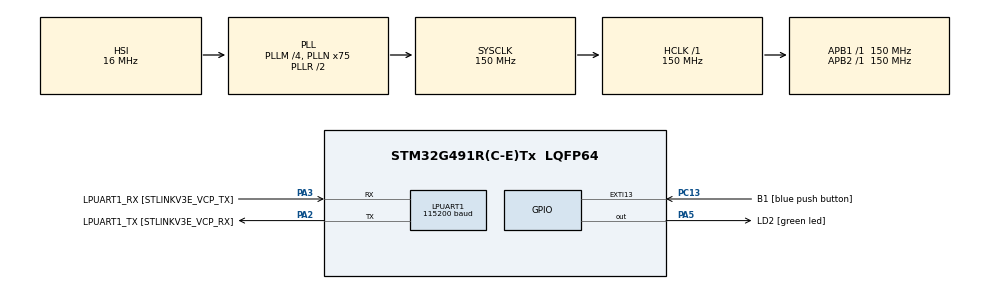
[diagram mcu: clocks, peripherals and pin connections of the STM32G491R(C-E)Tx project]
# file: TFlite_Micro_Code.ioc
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LPUART1.BaudRate=115200
LPUART1.WordLength=UART_WORDLENGTH_8B
Mcu.Family=STM32G4
Mcu.Name=STM32G491R(C-E)Tx
Mcu.Package=LQFP64
NVIC.EXTI15_10_IRQn=true\:0\:0\:false\:false\:true\:true\:true\:true
NVIC.LPUART1_IRQn=true\:0\:0\:false\:false\:true\:true\:true\:true
NVIC.PriorityGroup=NVIC_PRIORITYGROUP_4
PA13.GPIO_Label=T_SWDIO
PA13.Mode=Serial_Wire
PA13.Signal=SYS_JTMS-SWDIO
PA14.GPIO_Label=T_SWCLK
PA14.Mode=Serial_Wire
PA14.Signal=SYS_JTCK-SWCLK
PA2.GPIO_Label=LPUART1_TX [STLINKV3E_VCP_RX]
PA2.Mode=Asynchronous
PA2.Signal=LPUART1_TX
PA3.GPIO_Label=LPUART1_RX [STLINKV3E_VCP_TX]
PA3.Mode=Asynchronous
PA3.Signal=LPUART1_RX
PA5.GPIO_Label=LD2 [green led]
PA5.Signal=GPIO_Output
PB3.GPIO_Label=T_SWO
PB3.Signal=SYS_JTDO-SWO
PC13.GPIO_Label=B1 [blue push button]
PC13.Signal=GPXTI13
PC14-OSC32_IN.Mode=LSE-External-Oscillator
PC14-OSC32_IN.Signal=RCC_OSC32_IN
PC15-OSC32_OUT.Mode=LSE-External-Oscillator
PC15-OSC32_OUT.Signal=RCC_OSC32_OUT
PF0-OSC_IN.Mode=HSE-External-Oscillator
PF0-OSC_IN.Signal=RCC_OSC_IN
PF1-OSC_OUT.Mode=HSE-External-Oscillator
PF1-OSC_OUT.Signal=RCC_OSC_OUT
ProjectManager.HeapSize=0x200
ProjectManager.StackSize=0x400
ProjectManager.TargetToolchain=STM32CubeIDE
RCC.ADC12Freq_Value=150000000
RCC.ADC345Freq_Value=150000000
RCC.AHBFreq_Value=150000000
RCC.APB1Freq_Value=150000000
RCC.APB1TimFreq_Value=150000000
RCC.APB2Freq_Value=150000000
RCC.APB2TimFreq_Value=150000000
RCC.CortexFreq_Value=150000000
RCC.EXTERNAL_CLOCK_VALUE=12288000
RCC.HCLKFreq_Value=150000000
RCC.HSE_VALUE=24000000
RCC.HSI48_VALUE=48000000
RCC.HSI_VALUE=16000000
RCC.PLLM=RCC_PLLM_DIV4
RCC.PLLN=75
RCC.RTCClockSelection=RCC_RTCCLKSOURCE_LSE
RCC.SYSCLKFreq_VALUE=150000000
RCC.SYSCLKSource=RCC_SYSCLKSOURCE_PLLCLK
RCC.USBFreq_Value=48000000
RCC.VCOOutputFreq_Value=300000000
TIM16.Prescaler=80 - 1
VP_SYS_VS_DBSignals.Mode=DisableDeadBatterySignals
VP_TIM16_VS_ClockSourceINT.Mode=Enable_Timer
board=NUCLEO-G491RE

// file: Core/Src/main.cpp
 /* USER CODE BEGIN Header */
/**
  ******************************************************************************
  * @file           : main.c
  * @brief          : Main program body
  ******************************************************************************
  * @attention
  *
  * Copyright (c) 2024 STMicroelectronics.
  * All rights reserved.
  *
  * This software is licensed under terms that can be found in the LICENSE file
  * in the root directory of this software component.
  * If no LICENSE file comes with this software, it is provided AS-IS.
  *
  ******************************************************************************
  */
/* USER CODE END Header */
#include "main.h"

/* USER CODE BEGIN Includes */
#include <string.h>
#include <math.h>
#include "tensorflow/lite/micro/debug_log.h"

#include "tensorflow/lite/micro/kernels/micro_ops.h"
#include "tensorflow/lite/micro/tflite_bridge/micro_error_reporter.h"
#include "tensorflow/lite/micro/micro_interpreter.h"
#include "tensorflow/lite/micro/micro_mutable_op_resolver.h"
#include "tensorflow/lite/micro/micro_interpreter.h"
#include "tensorflow/lite/micro/micro_log.h"
#include "tensorflow/lite/micro/system_setup.h"
#include "tensorflow/lite/schema/schema_generated.h"

#include "cnn_model.h"
#include "inference_array.h"

// User defines are in tensorflow/lite/core/c/c_api_types.h

/* USER CODE END Includes */

/* USER CODE BEGIN PD */

void softmax(float input[], int size);
const char* GetClassName(uint8_t class_code);

/* USER CODE END PD */

UART_HandleTypeDef hlpuart1;

TIM_HandleTypeDef htim16;

/* USER CODE BEGIN PV */

// TF-Lite Globals
namespace
{
	tflite::ErrorReporter* error_reporter = nullptr;
	const tflite::Model* model = nullptr;
	tflite::MicroInterpreter* interpreter = nullptr;
	TfLiteTensor* model_input = nullptr;
	TfLiteTensor* model_output = nullptr;

// 38 * 1024 is the minimum kTensorArenaSize for which
// no error is generated
	constexpr int kTensorArenaSize = 38 * 1024;
	__attribute__((aligned(16)))uint8_t tensor_arena[kTensorArenaSize];
}

// Array to store the received data from UART (VCP)
uint8_t uart_rx_data[10];

/* USER CODE END PV */

void SystemClock_Config(void);
static void MX_GPIO_Init(void);
static void MX_LPUART1_UART_Init(void);
static void MX_TIM16_Init(void);

int main(void)
{
  /* USER CODE BEGIN 1 */
  char buf[150];
  TfLiteStatus tflite_status;
  uint32_t num_elements;
  /* USER CODE END 1 */

  /* MCU Configuration--------------------------------------------------------*/

  /* Reset of all peripherals, Initializes the Flash interface and the Systick. */
  HAL_Init();

  /* Configure the system clock */
  SystemClock_Config();

  /* Initialize all configured peripherals */
  MX_GPIO_Init();
  MX_LPUART1_UART_Init();
  MX_TIM16_Init();
  /* USER CODE BEGIN 2 */

  // Start timer / counter
  HAL_TIM_Base_Start(&htim16);

  // Set up logging (modify tensorflow/lite/micro/debug_log.cc)
  static tflite::MicroErrorReporter micro_error_reporter;
  error_reporter = &micro_error_reporter;

  // Say something to test error reporter
  error_reporter->Report("\r\n------------------------------------");
  error_reporter->Report("STM32 TF lite test");

  // Map the model into a usable data structure. This doesn't involve any
  // copying or parsing, it's a very lightweight operation.
  model = tflite::GetModel(cnn_model_int8);
  if (model->version() != TFLITE_SCHEMA_VERSION) {
	  error_reporter->Report("Model provided in schema version not equal to supported version");
	  while(1);
  }

  // Pull in only the operation implementations we need.
  // This relies on a complete list of all the ops needed by this graph.
  // NOLINTNEXTLINE(runtime-global-variables)
  static tflite::MicroMutableOpResolver<6> micro_op_resolver;
  micro_op_resolver.AddConv2D(tflite::Register_CONV_2D_INT8());
  micro_op_resolver.AddReshape();
  micro_op_resolver.AddQuantize();
  micro_op_resolver.AddMaxPool2D(tflite::Register_MAX_POOL_2D_INT8());
  micro_op_resolver.AddFullyConnected(tflite::Register_FULLY_CONNECTED_INT8());
  micro_op_resolver.AddDequantize();

  // Build an interpreter to run the model with.
  // NOLINTNEXTLINE(runtime-global-variables)
  static tflite::MicroInterpreter static_interpreter(model, micro_op_resolver, tensor_arena, kTensorArenaSize);
  interpreter = &static_interpreter;

  // Allocate memory from the tensor_arena for the model's tensors.
  TfLiteStatus allocate_status = interpreter->AllocateTensors();
  if (allocate_status != kTfLiteOk) {
	  error_reporter->Report("AllocateTensors() failed");
	  while(1);
  }

  // Get information about the memory area to use for the model's input.
  model_input = interpreter->input(0);
  model_output = interpreter->output(0);
  error_reporter->Report("Fully Optimized Setup OK!");

  // Print input / output tensor elements
  num_elements = model_input->bytes / sizeof(float);
  sprintf(buf, "Model input / output elements: %lu / %d", num_elements, model_output->bytes / sizeof(float));
  error_reporter->Report(buf);

  // Print input tensor type
  TfLiteType input_tensor_type = interpreter->input_tensor(0)->type;
  sprintf(buf, "Input Tensor Type: %s", TfLiteTypeGetName(input_tensor_type));
  error_reporter->Report(buf);

  // Print output tensor type
  TfLiteType output_tensor_type = interpreter->output_tensor(0)->type;
  sprintf(buf, "Output Tensor Type: %s\r\n", TfLiteTypeGetName(output_tensor_type));
  error_reporter->Report(buf);

  // Start the interrupt handling of UART (VCP) reception
  HAL_UART_Receive_IT(&hlpuart1, uart_rx_data, sizeof(uart_rx_data));

  /* USER CODE END 2 */

  /* Infinite loop */
  /* USER CODE BEGIN WHILE */

  while (1)
  {
	  // Accuracy variables
	  uint8_t total_samples = 0;
	  uint8_t correct_predictions = 0;

	  // Run inference for every test image
	  for (uint8_t img = 0; img < sizeof(inference_array) / sizeof(inference_array[0]); ++img)
	  {
		  // Fill in input buffer with 1 inference image
		  for (uint16_t i = 0; i < num_elements; ++i)
		  {
			  model_input->data.f[i] = inference_array[img][i];
		  }

		  // Get current timestamp
		  //timestamp = htim16.Instance->CNT;
		  uint32_t tick0 = HAL_GetTick();

		  // Run inference
		  tflite_status = interpreter->Invoke();
		  if (tflite_status != kTfLiteOk)
			  error_reporter->Report("Invoke failed :(");

		  // Print needed time to run the inference
		  sprintf(buf, "Process image time: %lu (ms)", HAL_GetTick() - tick0);
		  error_reporter->Report(buf);

		  // Read output prediction of neural network
		  // The output is stored in data.f[0-9]
		  float soft_table[10];
		  for (uint8_t i = 0; i < 10; ++i)
			  soft_table[i] = model_output->data.f[i];

		  // Run softmax function to find probability distribution
		  softmax(soft_table, 10);

		  // Find most probable class and print the results
		  float max_probability = soft_table[0];
		  uint8_t index_max_probability = 0;
		  for (uint8_t i = 1; i < 10; ++i)
		  {
			  if (soft_table[i] > max_probability)
			  {
				  max_probability = soft_table[i];
				  index_max_probability = i;
			  }
		  }
		  sprintf(buf, "Max probability: %0.2f  |  Prediction: %s  |  Ground truth label: %s \r\n",
				       max_probability, GetClassName(index_max_probability), GetClassName(inference_labels[img]));
		  error_reporter->Report(buf);

		  // Update accuracy variables
		  total_samples++;
		  if (index_max_probability == inference_labels[img])
			  correct_predictions++;

	  }
	  // Report accuracy
	  sprintf(buf, "Accuracy: %0.2f", 1.0 * correct_predictions / total_samples);
	  error_reporter->Report(buf);

	  error_reporter->Report("\r\n--------- Iteration done ---------\r\n");

    /* USER CODE END WHILE */

  }
}

void SystemClock_Config(void)
{
  RCC_OscInitTypeDef RCC_OscInitStruct = {0};
  RCC_ClkInitTypeDef RCC_ClkInitStruct = {0};

  /** Configure the main internal regulator output voltage
  */
  HAL_PWREx_ControlVoltageScaling(PWR_REGULATOR_VOLTAGE_SCALE1);

  /** Initializes the RCC Oscillators according to the specified parameters
  * in the RCC_OscInitTypeDef structure.
  */
  RCC_OscInitStruct.OscillatorType = RCC_OSCILLATORTYPE_HSI;
  RCC_OscInitStruct.HSIState = RCC_HSI_ON;
  RCC_OscInitStruct.HSICalibrationValue = RCC_HSICALIBRATION_DEFAULT;
  RCC_OscInitStruct.PLL.PLLState = RCC_PLL_ON;
  RCC_OscInitStruct.PLL.PLLSource = RCC_PLLSOURCE_HSI;
  RCC_OscInitStruct.PLL.PLLM = RCC_PLLM_DIV4;
  RCC_OscInitStruct.PLL.PLLN = 75;
  RCC_OscInitStruct.PLL.PLLP = RCC_PLLP_DIV2;
  RCC_OscInitStruct.PLL.PLLQ = RCC_PLLQ_DIV2;
  RCC_OscInitStruct.PLL.PLLR = RCC_PLLR_DIV2;
  if (HAL_RCC_OscConfig(&RCC_OscInitStruct) != HAL_OK)
  {
    Error_Handler();
  }

  /** Initializes the CPU, AHB and APB buses clocks
  */
  RCC_ClkInitStruct.ClockType = RCC_CLOCKTYPE_HCLK|RCC_CLOCKTYPE_SYSCLK
                              |RCC_CLOCKTYPE_PCLK1|RCC_CLOCKTYPE_PCLK2;
  RCC_ClkInitStruct.SYSCLKSource = RCC_SYSCLKSOURCE_PLLCLK;
  RCC_ClkInitStruct.AHBCLKDivider = RCC_SYSCLK_DIV1;
  RCC_ClkInitStruct.APB1CLKDivider = RCC_HCLK_DIV1;
  RCC_ClkInitStruct.APB2CLKDivider = RCC_HCLK_DIV1;

  if (HAL_RCC_ClockConfig(&RCC_ClkInitStruct, FLASH_LATENCY_4) != HAL_OK)
  {
    Error_Handler();
  }
}

static void MX_LPUART1_UART_Init(void)
{

  hlpuart1.Instance = LPUART1;
  hlpuart1.Init.BaudRate = 115200;
  hlpuart1.Init.WordLength = UART_WORDLENGTH_8B;
  hlpuart1.Init.StopBits = UART_STOPBITS_1;
  hlpuart1.Init.Parity = UART_PARITY_NONE;
  hlpuart1.Init.Mode = UART_MODE_TX_RX;
  hlpuart1.Init.HwFlowCtl = UART_HWCONTROL_NONE;
  hlpuart1.Init.OneBitSampling = UART_ONE_BIT_SAMPLE_DISABLE;
  hlpuart1.Init.ClockPrescaler = UART_PRESCALER_DIV1;
  hlpuart1.AdvancedInit.AdvFeatureInit = UART_ADVFEATURE_NO_INIT;
  if (HAL_UART_Init(&hlpuart1) != HAL_OK)
  {
    Error_Handler();
  }
  if (HAL_UARTEx_SetTxFifoThreshold(&hlpuart1, UART_TXFIFO_THRESHOLD_1_8) != HAL_OK)
  {
    Error_Handler();
  }
  if (HAL_UARTEx_SetRxFifoThreshold(&hlpuart1, UART_RXFIFO_THRESHOLD_1_8) != HAL_OK)
  {
    Error_Handler();
  }
  if (HAL_UARTEx_DisableFifoMode(&hlpuart1) != HAL_OK)
  {
    Error_Handler();
  }

}

static void MX_TIM16_Init(void)
{

  htim16.Instance = TIM16;
  htim16.Init.Prescaler = 80 - 1;
  htim16.Init.CounterMode = TIM_COUNTERMODE_UP;
  htim16.Init.Period = 65535;
  htim16.Init.ClockDivision = TIM_CLOCKDIVISION_DIV1;
  htim16.Init.RepetitionCounter = 0;
  htim16.Init.AutoReloadPreload = TIM_AUTORELOAD_PRELOAD_DISABLE;
  if (HAL_TIM_Base_Init(&htim16) != HAL_OK)
  {
    Error_Handler();
  }

}

static void MX_GPIO_Init(void)
{
  GPIO_InitTypeDef GPIO_InitStruct = {0};

  /* GPIO Ports Clock Enable */
  __HAL_RCC_GPIOC_CLK_ENABLE();
  __HAL_RCC_GPIOF_CLK_ENABLE();
  __HAL_RCC_GPIOA_CLK_ENABLE();
  __HAL_RCC_GPIOB_CLK_ENABLE();

  /*Configure GPIO pin Output Level */
  HAL_GPIO_WritePin(LD2_GPIO_Port, LD2_Pin, GPIO_PIN_RESET);

  /*Configure GPIO pin : B1_Pin */
  GPIO_InitStruct.Pin = B1_Pin;
  GPIO_InitStruct.Mode = GPIO_MODE_IT_RISING;
  GPIO_InitStruct.Pull = GPIO_NOPULL;
  HAL_GPIO_Init(B1_GPIO_Port, &GPIO_InitStruct);

  /*Configure GPIO pin : LD2_Pin */
  GPIO_InitStruct.Pin = LD2_Pin;
  GPIO_InitStruct.Mode = GPIO_MODE_OUTPUT_PP;
  GPIO_InitStruct.Pull = GPIO_NOPULL;
  GPIO_InitStruct.Speed = GPIO_SPEED_FREQ_LOW;
  HAL_GPIO_Init(LD2_GPIO_Port, &GPIO_InitStruct);

  /* EXTI interrupt init*/
  HAL_NVIC_SetPriority(EXTI15_10_IRQn, 0, 0);
  HAL_NVIC_EnableIRQ(EXTI15_10_IRQn);

}

/* USER CODE BEGIN 4 */

extern "C" void DebugLog(const char* format, va_list args)
{
	char s[100];
	vsprintf(s, format, args);
	va_end(args);

	HAL_UART_Transmit(&hlpuart1, (uint8_t*)s, strlen(s), HAL_MAX_DELAY);
}

/* Function to apply softmax to the output tensor values */
void softmax(float input[], int size)
{
    float sum_exp = 0.0;

    // Calculate the sum of exponentials of input values
    for (int i = 0; i < size; ++i) {
        sum_exp += std::exp(input[i]);
    }

    // Apply softmax to each input value
    for (int i = 0; i < size; ++i) {
        input[i] = std::exp(input[i]) / sum_exp;
    }
}

/* Returns the actual name of the class */
const char* GetClassName(uint8_t class_code) {
  switch (class_code) {
    case 0:
      return "AIRPLANE";
    case 1:
      return "AUTOMOBILE";
    case 2:
      return "BIRD";
    case 3:
      return "CAT";
    case 4:
      return "DEER";
    case 5:
      return "DOG";
    case 6:
      return "FROG";
    case 7:
      return "HORSE";
    case 8:
      return "SHIP";
    case 9:
      return "TRUCK";
  }
  return "Unknown";
}

void HAL_UART_RxCpltCallback(UART_HandleTypeDef *huart)
{
    if (huart->Instance == LPUART1)
    {
        // UART receive interrupt callback function
        // Handle received data here
        // For example, you can process the received data or store it in a buffer

    	HAL_GPIO_TogglePin(GPIOA, LD2_Pin);
    	HAL_UART_Receive_IT(&hlpuart1, uart_rx_data, sizeof(uart_rx_data));
    }

    HAL_UART_IRQHandler(&hlpuart1);
}

/* USER CODE END 4 */

void Error_Handler(void)
{
  __disable_irq();
  while (1)
  {
  }
}
